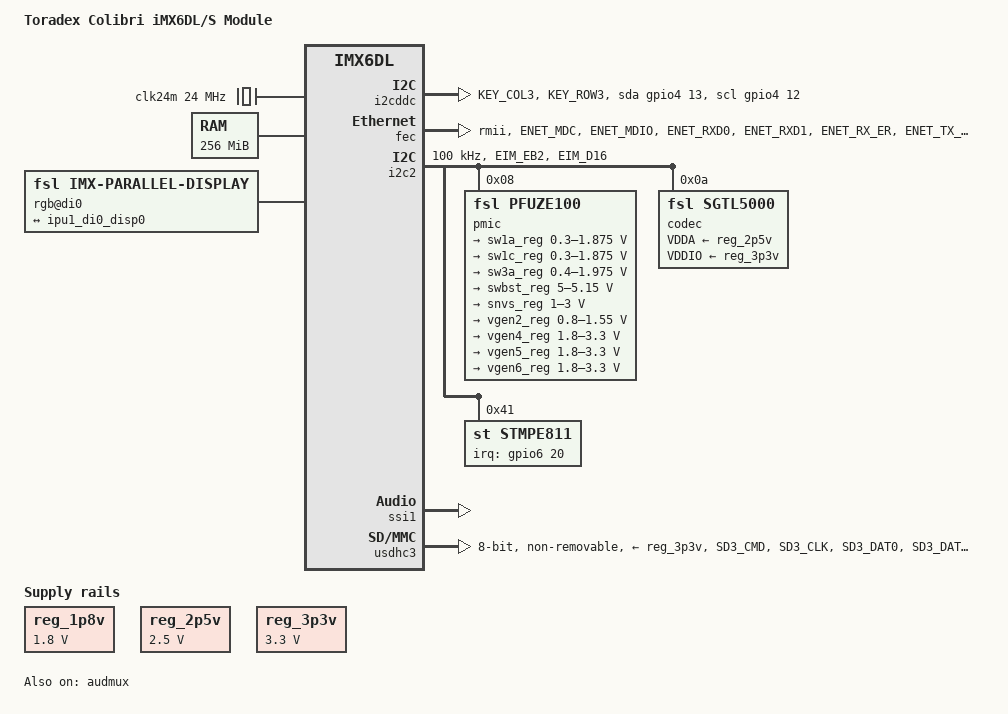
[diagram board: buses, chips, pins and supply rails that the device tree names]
/*
 * Copyright 2014-2015 Toradex AG
 * Copyright 2012 Freescale Semiconductor, Inc.
 * Copyright 2011 Linaro Ltd.
 *
 * The code contained herein is licensed under the GNU General Public
 * License. You may obtain a copy of the GNU General Public License
 * Version 2 or later at the following locations:
 *
 * http://www.opensource.org/licenses/gpl-license.html
 * http://www.gnu.org/copyleft/gpl.html
 */

/ {
	model = "Toradex Colibri iMX6DL/S  Module";
	compatible = "toradex,colibri_imx6dl", "fsl,imx6dl";

	backlight: backlight {
		compatible = "pwm-backlight";
		pwms = <&pwm3 0 5000000>;
		status = "disabled";
	};

	clocks {
		clk24m: clk24m {
			compatible = "fixed-clock";
			#clock-cells = <0>;
			clock-frequency = <24000000>;
		};
	};

/*
 * DDC_I2C: I2C2_SDA/SCL on X2 16/15
 */
	i2cddc: i2c@0 {
		compatible = "i2c-gpio";
		pinctrl-names = "default";
		pinctrl-0 = <&pinctrl_i2c_ddc>;
		gpios = <&gpio4 13 0 /* sda */
			 &gpio4 12 0 /* scl */
			>;
		i2c-gpio,delay-us = <2>;	/* ~100 kHz */
		#address-cells = <1>;
		#size-cells = <0>;
		status = "okay";
	};

	memory {
		/* This node is rewritten by U-Boot with the actual memory size */
		reg = <0x10000000 0x10000000>;
	};

	regulators {
		compatible = "simple-bus";

		reg_1p8v: 1p8v {
			compatible = "regulator-fixed";
			regulator-name = "1P8V";
			regulator-min-microvolt = <1800000>;
			regulator-max-microvolt = <1800000>;
			regulator-always-on;
		};

		reg_2p5v: 2p5v {
			compatible = "regulator-fixed";
			regulator-name = "2P5V";
			regulator-min-microvolt = <2500000>;
			regulator-max-microvolt = <2500000>;
			regulator-always-on;
		};

		reg_3p3v: 3p3v {
			compatible = "regulator-fixed";
			regulator-name = "3P3V";
			regulator-min-microvolt = <3300000>;
			regulator-max-microvolt = <3300000>;
			regulator-always-on;
		};

		reg_usb_host_vbus: usb_host_vbus {
			compatible = "regulator-fixed";
			pinctrl-names = "default";
			pinctrl-0 = <&pinctrl_regulator_usbh_pwr>;
			regulator-name = "usb_host_vbus";
			regulator-min-microvolt = <5000000>;
			regulator-max-microvolt = <5000000>;
			gpio =  <&gpio3 31 0>;
			status = "disabled";
		};
	};

	sound {
		compatible = "fsl,imx6-colibri-sgtl5000",
			     "fsl,imx-audio-sgtl5000";
		model = "imx6-colibri-sgtl5000";
		ssi-controller = <&ssi1>;
		audio-codec = <&codec>;
		audio-routing =
			"LINE_IN", "Line In Jack",
			"MIC_IN", "Mic Jack",
			"Mic Jack", "Mic Bias",
			"Headphone Jack", "HP_OUT";
		mux-int-port = <1>;
		mux-ext-port = <5>;
	};

	sound_spdif: sound-spdif {
		compatible = "fsl,imx-audio-spdif";
		model = "imx-spdif";
		spdif-controller = <&spdif>;
		spdif-out;
		/* spdif-in; */
		status = "disabled";
	};

	v4l2_out {
		compatible = "fsl,mxc_v4l2_output";
		status = "okay";
	};

	/* Parallel display */
	rgb@di0 {
		#address-cells = <1>;
		#size-cells = <0>;
		compatible = "fsl,imx-parallel-display";
		interface-pix-fmt = "bgr666";
		status = "okay";

		display-timings {
			native-mode = <&sxga75>;

			vga: VGA { /* Classic VGA from scratch */
				clock-frequency = <25200000>;
				hactive = <640>;
				vactive = <480>;
				hback-porch = <48>;
				hsync-len = <96>;
				hfront-porch = <16>;
				vback-porch = <31>;
				vsync-len = <2>;
				vfront-porch = <12>;
				hsync-active = <0>;
				vsync-active = <0>;
				de-active = <1>;
				pixelclk-active = <0>;
			};

/* MFPi display timing */
mfpi: lvds_wsvga { /* WSVGA: 1024x600@75Hz */
	/* clock-frequency = <66500000>; 92Hz - not in [60Hz...80Hz] range */
	clock-frequency = <44333333>; /* 61Hz - 53.99MHz reqired for typical 75Hz */
	hsync-len = <32>;	hfront-porch = <48>;	hactive = <1024>;	hback-porch = <80>;
	hsync-active = <0>;	/* negative, whole line 1184 */
	vsync-len = <1>;	vfront-porch = <3>;	vactive = <600>;	vback-porch = <4>;
	vsync-active = <0>;	/* negative, whole frame 608 */
	de-active = <1>;	pixelclk-active = <1>;
};

/* Timing from http://wwww.tinyvga.com/vga-timing */
vga60: vdac_vga60 { /* VGA: 640x480@63.5Hz 31.6KHz - checked for work on CRT and LCD monitors */
	clock-frequency = <26600000>; /* 25.175MHz required */
	hsync-len = <64>;	hfront-porch = <16>;	hactive = <640>;	hback-porch = <120>;
	hsync-active = <0>;	/* negative, whole line 840 */
	vsync-len = <3>;	vfront-porch = <2>;	vactive = <480>;	vback-porch = <15>;
	vsync-active = <0>;	/* negative, whole frame 500 */
	de-active = <1>;	pixelclk-active = <1>;
};
vga75: vdac_vga75 { /* VGA: 640x480@79.3Hz 39.6KHz - checked for work on CRT only */
	clock-frequency = <33250000>; /* 31.5MHz required */
	hsync-len = <64>;	hfront-porch = <16>;	hactive = <640>;	hback-porch = <120>;
	hsync-active = <0>;	/* negative, whole line 840 */
	vsync-len = <3>;	vfront-porch = <2>;	vactive = <480>;	vback-porch = <15>;
	vsync-active = <0>;	/* negative, whole frame 500 */
	de-active = <1>;	pixelclk-active = <1>;
};
svga56: vdac_svga56 { /* SVGA: 800x600@52.0Hz 32.4KHz - checked for work on CRT and LCD monitors */
	clock-frequency = <33250000>; /* 36MHz required */
	hsync-len = <72>;	hfront-porch = <24>;	hactive = <800>;	hback-porch = <128>;
	hsync-active = <1>;	/* positive, whole line 1024 */
	vsync-len = <2>;	vfront-porch = <2>;	vactive = <600>;	vback-porch = <21>;
	vsync-active = <1>;	/* positive, whole frame 636 */
	de-active = <1>;	pixelclk-active = <1>;
};
svga100: vdac_svga100 { /* SVGA: 800x600@97.8Hz 62.0KHz - checked for work on CRT only */
	clock-frequency = <66500000>; /* 68.18MHz required */
	hsync-len = <88>;	hfront-porch = <48>;	hactive = <800>;	hback-porch = <136>;
	hsync-active = <1>;	/* positive, whole line 1072 */
	vsync-len = <3>;	vfront-porch = <2>;	vactive = <600>;	vback-porch = <31>;
	vsync-active = <1>;	/* positive, whole frame 636 */
	de-active = <1>;	pixelclk-active = <1>;
};
xga60: vdac_xga60 { /* XGA: 1024x768@61.5Hz 49.4KHz - checked for work on CRT and LCD monitors */
	clock-frequency = <66500000>; /* 65MHz required */
	hsync-len = <136>;	hfront-porch = <24>;	hactive = <1024>;	hback-porch = <160>;
	hsync-active = <0>;	/* negative, whole line 1344 */
	vsync-len = <6>;	vfront-porch = <3>;	vactive = <768>;	vback-porch = <29>;
	vsync-active = <0>;	/* negative, whole frame 806 */
	de-active = <1>;	pixelclk-active = <1>;
};
xga70: vdac_xga70 { /* XGA: 1024x768@62.2Hz 50.0KHz - checked for work on CRT and LCD monitors */
	clock-frequency = <66500000>; /* 75MHz required */
	hsync-len = <136>;	hfront-porch = <24>;	hactive = <1024>;	hback-porch = <144>;
	hsync-active = <0>;	/* negative, whole line 1328 */
	vsync-len = <6>;	vfront-porch = <3>;	vactive = <768>;	vback-porch = <29>;
	vsync-active = <0>;	/* negative, whole frame 806 */
	de-active = <1>;	pixelclk-active = <1>;
};
sxga60: vdac_sxga60 { /* SXGA: 1280x1024@74.1Hz 78.8KHz - checked for work on CRT and LCD monitors */
	clock-frequency = <133000000>; /* 108MHz required */
	hsync-len = <112>;	hfront-porch = <48>;	hactive = <1280>;	hback-porch = <248>;
	hsync-active = <1>;	/* positive, whole line 1688 */
	vsync-len = <3>;	vfront-porch = <2>;	vactive = <1024>;	vback-porch = <37>;
	vsync-active = <1>;	/* positive, whole frame 1066 */
	de-active = <1>;	pixelclk-active = <1>;
};
sxga75: vdac_sxga75 { /* SXGA: 1280x1024@74.1Hz 78.8KHz - checked for work on CRT and LCD monitors */
	clock-frequency = <133000000>; /* 135Mhz required */
	hsync-len = <144>;	hfront-porch = <16>;	hactive = <1280>;	hback-porch = <248>;
	hsync-active = <1>;	/* positive, whole line 1688 */
	vsync-len = <3>;	vfront-porch = <2>;	vactive = <1024>;	vback-porch = <37>;
	vsync-active = <1>;	/* positive, whole frame 1066 */
	de-active = <1>;	pixelclk-active = <1>;
};
sxgap60: vdac_sxgap60 { /* SXGA+: 1400x1050@65.2Hz 70.7KHz - checked for work on CRT and LCD monitors */
	clock-frequency = <133000000>; /* 122.61Mhz required */
	hsync-len = <152>;	hfront-porch = <88>;	hactive = <1400>;	hback-porch = <240>;
	hsync-active = <0>;	/* negative, whole line 1880 */
	vsync-len = <3>;	vfront-porch = <2>;	vactive = <1050>;	vback-porch = <32>;
	vsync-active = <1>;	/* positive, whole frame 1066 */
	de-active = <1>;	pixelclk-active = <1>;
};
sxgap72: vdac_sxgap72 { /* SXGA+: 1400x1050@64.3Hz 70.2KHz - checked for work on CRT and LCD monitors */
	clock-frequency = <133000000>; /* 149.34Mhz required */
	hsync-len = <152>;	hfront-porch = <96>;	hactive = <1400>;	hback-porch = <248>;
	hsync-active = <0>;	/* negative, whole line 1896 */
	vsync-len = <3>;	vfront-porch = <2>;	vactive = <1050>;	vback-porch = <39>;
	vsync-active = <1>;	/* positive, whole frame 1066 */
	de-active = <1>;	pixelclk-active = <1>;
};
uxga60: vdac_uxga60 { /* UXGA: 1600x1200@49.3Hz 61.6KHz - checked for work on CRT and LCD monitors */
	clock-frequency = <133000000>; /* 162Mhz required */
	hsync-len = <192>;	hfront-porch = <64>;	hactive = <1600>;	hback-porch = <304>;
	hsync-active = <1>;	/* positive, whole line 1896 */
	vsync-len = <3>;	vfront-porch = <2>;	vactive = <1200>;	vback-porch = <45>;
	vsync-active = <1>;	/* positive, whole frame 1066 */
	de-active = <1>;	pixelclk-active = <1>;
};
		};

		port@0 { /* input port */
			reg = <0>;

			rgb_out: endpoint {
				remote-endpoint = <&ipu1_di0_disp0>;
			};
		};
	};
};

&ipu1_di0_disp0 {
	remote-endpoint = <&rgb_out>;
};

&audmux {
	pinctrl-names = "default";
	pinctrl-0 = <&pinctrl_audmux &pinctrl_audmux_mclk &pinctrl_mic_gnd>;
	status = "okay";
};

/* Colibri SPI */
&ecspi4 {
	fsl,spi-num-chipselects = <1>;
	cs-gpios = <&gpio5 2 0>;
	pinctrl-names = "default";
	pinctrl-0 = <&pinctrl_ecspi4 &pinctrl_spi_cs1>;
	status = "disabled";
};

&fec {
	pinctrl-names = "default";
	pinctrl-0 = <&pinctrl_enet>;
	phy-mode = "rmii";
	status = "okay";
};

/* Colibri SDDIMM 55/63 */
&can1 {
	pinctrl-names = "default";
	pinctrl-0 = <&pinctrl_flexcan1>;
	status = "disabled";
};

/* Colibri SODOMM 178/188 */
&can2 {
	pinctrl-names = "default";
	pinctrl-0 = <&pinctrl_flexcan2>;
	status = "disabled";
};

&i2c2 {
	clock-frequency = <100000>;
	pinctrl-names = "default";
	pinctrl-0 = <&pinctrl_i2c2>;
	status = "okay";

	pmic: pfuze100@08 {
		compatible = "fsl,pfuze100";
		reg = <0x08>;

		regulators {
			sw1a_reg: sw1ab {
				regulator-min-microvolt = <300000>;
				regulator-max-microvolt = <1875000>;
				regulator-boot-on;
				regulator-always-on;
				regulator-ramp-delay = <6250>;
			};

			sw1c_reg: sw1c {
				regulator-min-microvolt = <300000>;
				regulator-max-microvolt = <1875000>;
				regulator-boot-on;
				regulator-always-on;
				regulator-ramp-delay = <6250>;
			};

			sw3a_reg: sw3a {
				regulator-min-microvolt = <400000>;
				regulator-max-microvolt = <1975000>;
				regulator-boot-on;
				regulator-always-on;
			};

			swbst_reg: swbst {
				regulator-min-microvolt = <5000000>;
				regulator-max-microvolt = <5150000>;
				regulator-boot-on;
				regulator-always-on;
			};

			snvs_reg: vsnvs {
				regulator-min-microvolt = <1000000>;
				regulator-max-microvolt = <3000000>;
				regulator-boot-on;
				regulator-always-on;
			};

			vref_reg: vrefddr {
				regulator-boot-on;
				regulator-always-on;
			};

			vgen2_reg: vgen2 {
				regulator-min-microvolt = <800000>;
				regulator-max-microvolt = <1550000>;
				regulator-boot-on;
				regulator-always-on;
			};

			vgen4_reg: vgen4 {
				regulator-min-microvolt = <1800000>;
				regulator-max-microvolt = <3300000>;
				regulator-boot-on;
				regulator-always-on;
			};

			vgen5_reg: vgen5 {
				regulator-min-microvolt = <1800000>;
				regulator-max-microvolt = <3300000>;
				regulator-boot-on;
				regulator-always-on;
			};

			vgen6_reg: vgen6 {
				regulator-min-microvolt = <1800000>;
				regulator-max-microvolt = <3300000>;
				regulator-boot-on;
				regulator-always-on;
			};
		};
	};

	codec: sgtl5000@0a {
		compatible = "fsl,sgtl5000";
		reg = <0x0a>;
		clocks = <&clks 201>;
		VDDA-supply = <&reg_2p5v>;
		VDDIO-supply = <&reg_3p3v>;
	};

	/* STMPE811 touch screen controller */
	stmpe811@41 {
		compatible = "st,stmpe811";
		pinctrl-names = "default";
		pinctrl-0 = <&pinctrl_touch_int_1>;
		#address-cells = <1>;
		#size-cells = <0>;
		reg = <0x41>;
		interrupts = <20 IRQ_TYPE_LEVEL_LOW>;
		interrupt-parent = <&gpio6>;
		interrupt-controller;
		id = <0>;
		blocks = <0x5>;
		irq-trigger = <0x1>;
		stmpe_touchscreen {
			compatible = "st,stmpe-ts";
			reg = <0>;
			/* 3.25 MHz ADC clock speed */
			st,adc-freq = <1>;
			/* 8 sample average control */
			st,ave-ctrl = <3>;
			/* 7 length fractional part in z */
			st,fraction-z = <7>;
			/*
			 * 50 mA typical 80 mA max touchscreen drivers
			 * current limit value
			 */
			st,i-drive = <1>;
			/* 12-bit ADC */
			st,mod-12b = <1>;
			/* internal ADC reference */
			st,ref-sel = <0>;
			/* ADC converstion time: 80 clocks */
			st,sample-time = <4>;
			/* 1 ms panel driver settling time */
			st,settling = <3>;
			/* 5 ms touch detect interrupt delay */
			st,touch-det-delay = <5>;
		};
		stmpe_adc {
			compatible = "st,stmpe-adc";
			/* 3.25 MHz ADC clock speed */
			st,adc-freq = <1>;
			/* 12-bit ADC */
			st,mod-12b = <1>;
			/* internal ADC reference */
			st,ref-sel = <0>;
			/* ADC converstion time: 80 clocks */
			st,sample-time = <4>;
		};
	};
};

/*
 * I2C: I2C3_SDA/SCL on SODIMM 194/196 (e.g. RTC on carrier
 * board)
 */
&i2c3 {
	clock-frequency = <100000>;
	pinctrl-names = "default", "recovery";
	pinctrl-0 = <&pinctrl_i2c3>;
	pinctrl-1 = <&pinctrl_i2c3_recovery>;
	gpios = <&gpio1 6 0 /* sda */
	         &gpio1 3 0 /* scl */
	        >;
	status = "disabled";
};

/* PAD Ctrl Values for Common Settings */
#define PAD_CTRL_HYS_PU 0x1b0b0 /*(PAD_CTL_HYS | PAD_CTL_PUS_100K_UP | PAD_CTL_PUE | PAD_CTL_PKE | PAD_CTL_SPEED_MED | PAD_CTL_DSE_40ohm)*/
#define PAD_CTRL_HYS_PD 0x130b0 /*(PAD_CTL_HYS | PAD_CTL_PUE | PAD_CTL_PKE | PAD_CTL_SPEED_MED | PAD_CTL_DSE_40ohm)*/
#define PAD_CTRL_PU_22k 0x0f058 /*(PAD_CTL_PUS_22K_UP | PAD_CTL_PUE | PAD_CTL_PKE | PAD_CTL_SPEED_LOW | PAD_CTL_DSE_80ohm)*/
#define PAD_CTRL_IN 0x0040 /*( PAD_CTL_SPEED_LOW )*/
#define PAD_CTRL_NO 0x80000000

&iomuxc {
	csi {
		/* CSI pins used as GPIO */
		pinctrl_csi_gpio_1: csi_gpio-1 {
			fsl,pins = <
				MX6QDL_PAD_EIM_A24__GPIO5_IO04   PAD_CTRL_HYS_PU
				MX6QDL_PAD_SD2_CMD__GPIO1_IO11   PAD_CTRL_HYS_PU
				MX6QDL_PAD_NANDF_CS2__GPIO6_IO15 PAD_CTRL_HYS_PU
				MX6QDL_PAD_EIM_D18__GPIO3_IO18   PAD_CTRL_HYS_PU
				MX6QDL_PAD_EIM_A19__GPIO2_IO19   PAD_CTRL_HYS_PU
				MX6QDL_PAD_EIM_D29__GPIO3_IO29   PAD_CTRL_HYS_PD
				MX6QDL_PAD_EIM_A23__GPIO6_IO06   PAD_CTRL_HYS_PU
				MX6QDL_PAD_EIM_A20__GPIO2_IO18   PAD_CTRL_HYS_PU
				MX6QDL_PAD_EIM_A17__GPIO2_IO21   PAD_CTRL_HYS_PU
				MX6QDL_PAD_EIM_A18__GPIO2_IO20   PAD_CTRL_HYS_PU
				MX6QDL_PAD_EIM_EB3__GPIO2_IO31   PAD_CTRL_HYS_PU
				MX6QDL_PAD_EIM_D17__GPIO3_IO17   PAD_CTRL_HYS_PU
				MX6QDL_PAD_SD2_DAT0__GPIO1_IO15  PAD_CTRL_HYS_PU
			>;
		};
	};

	ecspi4 {
		pinctrl_ecspi4: ecspi4grp {
			fsl,pins = <
				MX6QDL_PAD_EIM_D22__ECSPI4_MISO 0x100b1
				MX6QDL_PAD_EIM_D28__ECSPI4_MOSI 0x100b1
				MX6QDL_PAD_EIM_D21__ECSPI4_SCLK 0x100b1
			>;
		};
	};

	enet {

		pinctrl_enet: enetgrp { /* RMII */
			fsl,pins = <
				MX6QDL_PAD_ENET_MDC__ENET_MDC		0x1b0b0
				MX6QDL_PAD_ENET_MDIO__ENET_MDIO		0x1b0b0
				MX6QDL_PAD_ENET_RXD0__ENET_RX_DATA0	0x1b0b0
				MX6QDL_PAD_ENET_RXD1__ENET_RX_DATA1	0x1b0b0
				MX6QDL_PAD_ENET_RX_ER__ENET_RX_ER	0x1b0b0
				MX6QDL_PAD_ENET_TX_EN__ENET_TX_EN	0x1b0b0
				MX6QDL_PAD_ENET_TXD0__ENET_TX_DATA0	0x1b0b0
				MX6QDL_PAD_ENET_TXD1__ENET_TX_DATA1	0x1b0b0
				MX6QDL_PAD_ENET_CRS_DV__ENET_RX_EN	0x1b0b0
				MX6QDL_PAD_GPIO_16__ENET_REF_CLK	((1<<30) | 0x1b0b0)
			>;
		};
	};

	flexcan1 {

		pinctrl_flexcan1: flexcan1grp {
			fsl,pins = <
				MX6QDL_PAD_GPIO_7__FLEXCAN1_TX   0x80000000
				MX6QDL_PAD_GPIO_8__FLEXCAN1_RX   0x80000000
			>;
		};
		pinctrl_flexcan2: flexcan2grp {
			fsl,pins = <
				MX6QDL_PAD_KEY_COL4__FLEXCAN2_TX 0x80000000
				MX6QDL_PAD_KEY_ROW4__FLEXCAN2_RX 0x80000000
			>;
		};
	};

	gpio {
		pinctrl_gpio_1: gpio-1 {
			fsl,pins = <
				MX6QDL_PAD_EIM_D26__GPIO3_IO26      PAD_CTRL_HYS_PU
				MX6QDL_PAD_EIM_D27__GPIO3_IO27      PAD_CTRL_HYS_PU
				MX6QDL_PAD_NANDF_D6__GPIO2_IO06     PAD_CTRL_HYS_PU
				MX6QDL_PAD_NANDF_D3__GPIO2_IO03     PAD_CTRL_HYS_PU
				MX6QDL_PAD_ENET_REF_CLK__GPIO1_IO23 PAD_CTRL_HYS_PU
				MX6QDL_PAD_DI0_PIN4__GPIO4_IO20     PAD_CTRL_HYS_PU
				MX6QDL_PAD_SD4_DAT3__GPIO2_IO11     PAD_CTRL_HYS_PU
				MX6QDL_PAD_NANDF_D4__GPIO2_IO04     PAD_CTRL_HYS_PU
				MX6QDL_PAD_SD4_DAT0__GPIO2_IO08     PAD_CTRL_HYS_PU
			>;
		};
		pinctrl_gpio_2: gpio-2 {
			fsl,pins = <
				MX6QDL_PAD_GPIO_7__GPIO1_IO07       PAD_CTRL_HYS_PU
				MX6QDL_PAD_GPIO_8__GPIO1_IO08       PAD_CTRL_HYS_PU
			>;
		};
	};

	i2c {
		pinctrl_i2c_ddc: i2c_ddc {
			fsl,pins = <
				MX6QDL_PAD_KEY_COL3__GPIO4_IO12		PAD_CTRL_HYS_PU	/* DDC bitbang */
				MX6QDL_PAD_KEY_ROW3__GPIO4_IO13		PAD_CTRL_HYS_PU	/* DDC bitbang */
			>;
		};
		pinctrl_i2c3: i2c3grp {
			fsl,pins = <
				MX6QDL_PAD_GPIO_3__I2C3_SCL 0x4001b8b1
				MX6QDL_PAD_GPIO_6__I2C3_SDA 0x4001b8b1
			>;
		};
		pinctrl_i2c3_recovery: i2c3-recoverygrp {
			fsl,pins = <
				MX6QDL_PAD_GPIO_3__GPIO1_IO03 0x4001b8b1
				MX6QDL_PAD_GPIO_6__GPIO1_IO06 0x4001b8b1
			>;
		};
	};
	/* pins used on module */
	imx6dl-colibri {
		pinctrl-names = "default";
		pinctrl-0 = <&pinctrl_emmc_reset>;
		pinctrl_audmux: audmuxgrp {
			fsl,pins = <
				MX6QDL_PAD_KEY_COL0__AUD5_TXC  0x130b0
				MX6QDL_PAD_KEY_ROW0__AUD5_TXD  0x130b0
				MX6QDL_PAD_KEY_COL1__AUD5_TXFS 0x130b0
				MX6QDL_PAD_KEY_ROW1__AUD5_RXD  0x130b0
			>;
		};
		pinctrl_audmux_mclk: audmux_mclk {
			fsl,pins = <
				MX6QDL_PAD_GPIO_0__CCM_CLKO1		0x000b0		/* SGTL5000 sys_mclk */
			>;
		};
		pinctrl_emmc_reset: emmc_reset {
			fsl,pins = <
				MX6QDL_PAD_SD3_RST__GPIO7_IO08		PAD_CTRL_PU_22k	/* eMMC reset, leave it alone */
			>;
		};
		pinctrl_gpio_keys: gpio_keys {
			fsl,pins = <
				MX6QDL_PAD_EIM_A16__GPIO2_IO22		PAD_CTRL_HYS_PD	/* Power Button */
			>;
		};
		pinctrl_i2c2: i2c2grp {
			fsl,pins = <
				MX6QDL_PAD_EIM_EB2__I2C2_SCL 0x4001b8b1
				MX6QDL_PAD_EIM_D16__I2C2_SDA 0x4001b8b1
			>;
		};
		pinctrl_mic_gnd: gpio_mic_gnd {
			fsl,pins = <
				MX6QDL_PAD_RGMII_TD1__GPIO6_IO21	PAD_CTRL_HYS_PU	/* Controlls Mic GND, PU or '1' pull Mic GND to GND */
			>;
		};
		pinctrl_pwm_a_cif_d7: pwm_d_cif_d7 {
			fsl,pins = <
				MX6QDL_PAD_EIM_A22__GPIO2_IO16		PAD_CTRL_IN	/* disable, muxed with PWM<A> */
			>;
		};
		pinctrl_pwm_d_cif_d6: pwm_d_cif_d6 {
			fsl,pins = <
				MX6QDL_PAD_EIM_A21__GPIO2_IO17		PAD_CTRL_IN	/* disable, muxed with PWM<D> */
			>;
		};
		pinctrl_regulator_usbh_pwr: gpio_regulator_usbh_pwr {
			fsl,pins = <
				MX6QDL_PAD_EIM_D31__GPIO3_IO31		PAD_CTRL_PU_22k	/* USBH_EN */
			>;
		};

		pinctrl_regulator_usbotg_pwr: gpio_regulator_usbotg_pwr {
			fsl,pins = <
				MX6QDL_PAD_EIM_D22__GPIO3_IO22		PAD_CTRL_PU_22k	/* USBO power en */
			>;
		};

		pinctrl_spi_cs1: spi_cs1 {
			fsl,pins = <
				MX6QDL_PAD_EIM_A25__GPIO5_IO02		PAD_CTRL_NO	/* SPI cs */
			>;
		};
		pinctrl_touch_int_1: touch_int-1 {
			fsl,pins = <
				MX6QDL_PAD_RGMII_TD0__GPIO6_IO20	PAD_CTRL_HYS_PU /* STMPE811 interrupt */
			>;
		};
		pinctrl_usbh_oc_1: usbh_oc-1 {
			fsl,pins = <
				/* USBH_OC */
				MX6QDL_PAD_EIM_D30__GPIO3_IO30		PAD_CTRL_HYS_PU
			>;
		};
		pinctrl_usbc_id_1: usbc_id-1 {
			fsl,pins = <
				/* USBC_ID */
				MX6QDL_PAD_NANDF_D2__GPIO2_IO02		PAD_CTRL_HYS_PU
			>;
		};
		pinctrl_usbc_det_1: usbc_det-1 {
			fsl,pins = <
				/* USBC_DET */
				MX6QDL_PAD_GPIO_17__GPIO7_IO12		PAD_CTRL_HYS_PU
				/* USBC_DET_EN */
				MX6QDL_PAD_RGMII_TX_CTL__GPIO6_IO26	PAD_CTRL_PU_22k
				/* USBC_DET_OVERWRITE */
				MX6QDL_PAD_RGMII_RXC__GPIO6_IO30	PAD_CTRL_PU_22k
			>;
		};
		pinctrl_usdhc3: usdhc3grp {
			fsl,pins = <
				MX6QDL_PAD_SD3_CMD__SD3_CMD    0x17059
				MX6QDL_PAD_SD3_CLK__SD3_CLK    0x10059
				MX6QDL_PAD_SD3_DAT0__SD3_DATA0 0x17059
				MX6QDL_PAD_SD3_DAT1__SD3_DATA1 0x17059
				MX6QDL_PAD_SD3_DAT2__SD3_DATA2 0x17059
				MX6QDL_PAD_SD3_DAT3__SD3_DATA3 0x17059
				MX6QDL_PAD_SD3_DAT4__SD3_DATA4 0x17059
				MX6QDL_PAD_SD3_DAT5__SD3_DATA5 0x17059
				MX6QDL_PAD_SD3_DAT6__SD3_DATA6 0x17059
				MX6QDL_PAD_SD3_DAT7__SD3_DATA7 0x17059
			>;
		};
		pinctrl_usdhc3_100mhz: usdhc3grp-100mhz { /* 100Mhz */
			fsl,pins = <
				MX6QDL_PAD_SD3_CMD__SD3_CMD 0x170B9
				MX6QDL_PAD_SD3_CLK__SD3_CLK 0x100B9
				MX6QDL_PAD_SD3_DAT0__SD3_DATA0 0x170B9
				MX6QDL_PAD_SD3_DAT1__SD3_DATA1 0x170B9
				MX6QDL_PAD_SD3_DAT2__SD3_DATA2 0x170B9
				MX6QDL_PAD_SD3_DAT3__SD3_DATA3 0x170B9
				MX6QDL_PAD_SD3_DAT4__SD3_DATA4 0x170B9
				MX6QDL_PAD_SD3_DAT5__SD3_DATA5 0x170B9
				MX6QDL_PAD_SD3_DAT6__SD3_DATA6 0x170B9
				MX6QDL_PAD_SD3_DAT7__SD3_DATA7 0x170B9
			>;
		};
		pinctrl_usdhc3_200mhz: usdhc3grp-200mhz { /* 200Mhz */
			fsl,pins = <
				MX6QDL_PAD_SD3_CMD__SD3_CMD 0x170F9
				MX6QDL_PAD_SD3_CLK__SD3_CLK 0x100F9
				MX6QDL_PAD_SD3_DAT0__SD3_DATA0 0x170F9
				MX6QDL_PAD_SD3_DAT1__SD3_DATA1 0x170F9
				MX6QDL_PAD_SD3_DAT2__SD3_DATA2 0x170F9
				MX6QDL_PAD_SD3_DAT3__SD3_DATA3 0x170F9
				MX6QDL_PAD_SD3_DAT4__SD3_DATA4 0x170F9
				MX6QDL_PAD_SD3_DAT5__SD3_DATA5 0x170F9
				MX6QDL_PAD_SD3_DAT6__SD3_DATA6 0x170F9
				MX6QDL_PAD_SD3_DAT7__SD3_DATA7 0x170F9
			>;
		};
	};

	ipu1 {

		pinctrl_ipu1_lcd: ipu1grp-lcd {
			fsl,pins = <
				MX6QDL_PAD_DI0_DISP_CLK__IPU1_DI0_DISP_CLK 0xa1
				MX6QDL_PAD_DI0_PIN15__IPU1_DI0_PIN15       0xa1
				MX6QDL_PAD_DI0_PIN2__IPU1_DI0_PIN02        0xa1
				MX6QDL_PAD_DI0_PIN3__IPU1_DI0_PIN03        0xa1
				MX6QDL_PAD_DISP0_DAT0__IPU1_DISP0_DATA00   0xa1
				MX6QDL_PAD_DISP0_DAT1__IPU1_DISP0_DATA01   0xa1
				MX6QDL_PAD_DISP0_DAT2__IPU1_DISP0_DATA02   0xa1
				MX6QDL_PAD_DISP0_DAT3__IPU1_DISP0_DATA03   0xa1
				MX6QDL_PAD_DISP0_DAT4__IPU1_DISP0_DATA04   0xa1
				MX6QDL_PAD_DISP0_DAT5__IPU1_DISP0_DATA05   0xa1
				MX6QDL_PAD_DISP0_DAT6__IPU1_DISP0_DATA06   0xa1
				MX6QDL_PAD_DISP0_DAT7__IPU1_DISP0_DATA07   0xa1
				MX6QDL_PAD_DISP0_DAT8__IPU1_DISP0_DATA08   0xa1
				MX6QDL_PAD_DISP0_DAT9__IPU1_DISP0_DATA09   0xa1
				MX6QDL_PAD_DISP0_DAT10__IPU1_DISP0_DATA10  0xa1
				MX6QDL_PAD_DISP0_DAT11__IPU1_DISP0_DATA11  0xa1
				MX6QDL_PAD_DISP0_DAT12__IPU1_DISP0_DATA12  0xa1
				MX6QDL_PAD_DISP0_DAT13__IPU1_DISP0_DATA13  0xa1
				MX6QDL_PAD_DISP0_DAT14__IPU1_DISP0_DATA14  0xa1
				MX6QDL_PAD_DISP0_DAT15__IPU1_DISP0_DATA15  0xa1
				MX6QDL_PAD_DISP0_DAT16__IPU1_DISP0_DATA16  0xa1
				MX6QDL_PAD_DISP0_DAT17__IPU1_DISP0_DATA17  0xa1
			>;
		};
		pinctrl_ipu1_csi0: ipu1grp-csi0 { /* parallel camera */
			fsl,pins = <
				MX6QDL_PAD_EIM_A17__IPU1_CSI1_DATA12    0xb0b1
				MX6QDL_PAD_EIM_A18__IPU1_CSI1_DATA13    0xb0b1
				MX6QDL_PAD_EIM_A19__IPU1_CSI1_DATA14    0xb0b1
				MX6QDL_PAD_EIM_A20__IPU1_CSI1_DATA15    0xb0b1
				MX6QDL_PAD_EIM_A21__IPU1_CSI1_DATA16    0xb0b1
				MX6QDL_PAD_EIM_A22__IPU1_CSI1_DATA17    0xb0b1
				MX6QDL_PAD_EIM_A23__IPU1_CSI1_DATA18    0xb0b1
				MX6QDL_PAD_EIM_A24__IPU1_CSI1_DATA19    0xb0b1
				MX6QDL_PAD_EIM_D17__IPU1_CSI1_PIXCLK    0xb0b1
				MX6QDL_PAD_EIM_EB3__IPU1_CSI1_HSYNC     0xb0b1
				MX6QDL_PAD_EIM_D29__IPU1_CSI1_VSYNC     0xb0b1

				MX6QDL_PAD_SD4_DAT1__GPIO2_IO09         0x40		/* disabled PWM pins on camera IF */
				MX6QDL_PAD_GPIO_1__GPIO1_IO01		0x40
			>;
		};
		pinctrl_cam_mclk: camgrp_mclk { /* parallel camera */
			fsl,pins = <
				MX6QDL_PAD_NANDF_CS2__CCM_CLKO2         0x00b0		/* CAM sys_mclk */
			>;
		};
	};

	pwm {
		pinctrl_pwm1: pwm1grp {
			fsl,pins = <
				MX6QDL_PAD_GPIO_9__PWM1_OUT 0x1b0b1
			>;
		};
		pinctrl_pwm2: pwm2grp {
			fsl,pins = <
				MX6QDL_PAD_GPIO_1__PWM2_OUT 0x1b0b1
			>;
		};
		pinctrl_pwm3: pwm3grp {
			fsl,pins = <
				MX6QDL_PAD_SD4_DAT1__PWM3_OUT 0x1b0b1
			>;
		};
		pinctrl_pwm4: pwm4grp {
			fsl,pins = <
				MX6QDL_PAD_SD4_DAT2__PWM4_OUT 0x1b0b1
			>;
		};
 	};

	spdif {

		pinctrl_spdif_t1: spdifgrp-t1 {
			fsl,pins = <
				MX6QDL_PAD_GPIO_17__SPDIF_OUT 0x1b0b0
			>;
		};
	};

	uart1 {
		pinctrl_uart1_dte: uart1-dtegrp { /* DTE mode */
			fsl,pins = <
				MX6QDL_PAD_CSI0_DAT10__UART1_RX_DATA 0x1b0b1
				MX6QDL_PAD_CSI0_DAT11__UART1_TX_DATA 0x1b0b1
				MX6QDL_PAD_EIM_D19__UART1_RTS_B 0x1b0b1
				MX6QDL_PAD_EIM_D20__UART1_CTS_B 0x1b0b1
			>;
		};
		pinctrl_uart1_ctrl: uart1-ctrlgrp { /* Additional DTR, DSR, DCD */
			fsl,pins = <
				MX6QDL_PAD_EIM_D23__UART1_DCD_B 0x1b0b0
				MX6QDL_PAD_EIM_D24__UART1_DTR_B 0x1b0b0
				MX6QDL_PAD_EIM_D25__UART1_DSR_B 0x1b0b0
			>;
		};
	};

	uart2 {
		pinctrl_uart2_dte: uart2grp-dte { /* DTE mode */			fsl,pins = <
				MX6QDL_PAD_SD4_DAT4__UART2_TX_DATA   0x1b0b1
				MX6QDL_PAD_SD4_DAT7__UART2_RX_DATA   0x1b0b1
				MX6QDL_PAD_SD4_DAT6__UART2_RTS_B 0x1b0b1
				MX6QDL_PAD_SD4_DAT5__UART2_CTS_B 0x1b0b1
			>;
		};
	};

	uart3 {
		pinctrl_uart3_dte: uart3grp-dte { /* DTE mode */
			fsl,pins = <
				MX6QDL_PAD_SD4_CLK__UART3_TX_DATA 0x1b0b1
				MX6QDL_PAD_SD4_CMD__UART3_RX_DATA 0x1b0b1
			>;
		};
	};

	usdhc {
		pinctrl_mmc_cd: gpio_mmc_cd {
			fsl,pins = <
				MX6QDL_PAD_NANDF_D5__GPIO2_IO05		PAD_CTRL_NO	/* MMC1 CD */
			>;
		};
		pinctrl_usdhc1: usdhc1grp {
			fsl,pins = <
				MX6QDL_PAD_SD1_CMD__SD1_CMD    0x17071
				MX6QDL_PAD_SD1_CLK__SD1_CLK    0x10071
				MX6QDL_PAD_SD1_DAT0__SD1_DATA0 0x17071
				MX6QDL_PAD_SD1_DAT1__SD1_DATA1 0x17071
				MX6QDL_PAD_SD1_DAT2__SD1_DATA2 0x17071
				MX6QDL_PAD_SD1_DAT3__SD1_DATA3 0x17071
			>;
		};
	};

	weim {
		pinctrl_weim_cs0: weim_cs0grp {
			fsl,pins = <
				MX6QDL_PAD_EIM_CS0__EIM_CS0_B   0xb0b1 /* nEXT_CS0 */
			>;
		};
		pinctrl_weim_cs1: weim_cs1grp {
			fsl,pins = <
				MX6QDL_PAD_EIM_CS1__EIM_CS1_B   0xb0b1 /* nEXT_CS1 */
			>;
		};
		pinctrl_weim_cs2: weim_cs2grp {
			fsl,pins = <
				MX6QDL_PAD_SD2_DAT1__EIM_CS2_B  0xb0b1 /* nEXT_CS2 */
			>;
		};
		pinctrl_weim_sram_1: weim_sramgrp-1 {
			fsl,pins = <
				MX6QDL_PAD_EIM_OE__EIM_OE_B     0xb0b1
				MX6QDL_PAD_EIM_RW__EIM_RW       0xb0b1
				/* data */
				MX6QDL_PAD_CSI0_DATA_EN__EIM_DATA00 0x1b0b0
				MX6QDL_PAD_CSI0_VSYNC__EIM_DATA01 0x1b0b0
				MX6QDL_PAD_CSI0_DAT4__EIM_DATA02 0x1b0b0
				MX6QDL_PAD_CSI0_DAT5__EIM_DATA03 0x1b0b0
				MX6QDL_PAD_CSI0_DAT6__EIM_DATA04 0x1b0b0
				MX6QDL_PAD_CSI0_DAT7__EIM_DATA05 0x1b0b0
				MX6QDL_PAD_CSI0_DAT8__EIM_DATA06 0x1b0b0
				MX6QDL_PAD_CSI0_DAT9__EIM_DATA07 0x1b0b0
				MX6QDL_PAD_CSI0_DAT12__EIM_DATA08 0x1b0b0
				MX6QDL_PAD_CSI0_DAT13__EIM_DATA09 0x1b0b0
				MX6QDL_PAD_CSI0_DAT14__EIM_DATA10 0x1b0b0
				MX6QDL_PAD_CSI0_DAT15__EIM_DATA11 0x1b0b0
				MX6QDL_PAD_CSI0_DAT16__EIM_DATA12 0x1b0b0
				MX6QDL_PAD_CSI0_DAT17__EIM_DATA13 0x1b0b0
				MX6QDL_PAD_CSI0_DAT18__EIM_DATA14 0x1b0b0
				MX6QDL_PAD_CSI0_DAT19__EIM_DATA15 0x1b0b0
				/* address */
				MX6QDL_PAD_EIM_DA15__EIM_AD15  0xb0b1
				MX6QDL_PAD_EIM_DA14__EIM_AD14  0xb0b1
				MX6QDL_PAD_EIM_DA13__EIM_AD13  0xb0b1
				MX6QDL_PAD_EIM_DA12__EIM_AD12  0xb0b1
				MX6QDL_PAD_EIM_DA11__EIM_AD11  0xb0b1
				MX6QDL_PAD_EIM_DA10__EIM_AD10  0xb0b1
				MX6QDL_PAD_EIM_DA9__EIM_AD09   0xb0b1
				MX6QDL_PAD_EIM_DA8__EIM_AD08   0xb0b1
				MX6QDL_PAD_EIM_DA7__EIM_AD07   0xb0b1
				MX6QDL_PAD_EIM_DA6__EIM_AD06   0xb0b1
				MX6QDL_PAD_EIM_DA5__EIM_AD05   0xb0b1
				MX6QDL_PAD_EIM_DA4__EIM_AD04   0xb0b1
				MX6QDL_PAD_EIM_DA3__EIM_AD03   0xb0b1
				MX6QDL_PAD_EIM_DA2__EIM_AD02   0xb0b1
				MX6QDL_PAD_EIM_DA1__EIM_AD01   0xb0b1
				MX6QDL_PAD_EIM_DA0__EIM_AD00   0xb0b1
			>;
		};
		pinctrl_weim_rdnwr_1: weim_rdnwr-1 {
			fsl,pins = <
				MX6QDL_PAD_SD2_CLK__GPIO1_IO10   PAD_CTRL_IN
				MX6QDL_PAD_RGMII_TD3__GPIO6_IO23 PAD_CTRL_HYS_PD
			>;
		};
		pinctrl_weim_npwe_1: weim_npwe-1 {
			fsl,pins = <
				MX6QDL_PAD_SD2_DAT3__GPIO1_IO12  PAD_CTRL_IN
				MX6QDL_PAD_RGMII_TD2__GPIO6_IO22 PAD_CTRL_HYS_PD
			>;
		};

		/* ADDRESS[16:18] [25] used as GPIO */
		pinctrl_weim_gpio_1: weim_gpio-1 {
			fsl,pins = <
				MX6QDL_PAD_KEY_ROW4__GPIO4_IO15    PAD_CTRL_HYS_PU
				MX6QDL_PAD_KEY_ROW2__GPIO4_IO11    PAD_CTRL_HYS_PU
				MX6QDL_PAD_KEY_COL2__GPIO4_IO10    PAD_CTRL_HYS_PU
				MX6QDL_PAD_DISP0_DAT23__GPIO5_IO17 PAD_CTRL_HYS_PU
				MX6QDL_PAD_DISP0_DAT22__GPIO5_IO16 PAD_CTRL_HYS_PU
				MX6QDL_PAD_DISP0_DAT21__GPIO5_IO15 PAD_CTRL_HYS_PU
				MX6QDL_PAD_DISP0_DAT20__GPIO5_IO14 PAD_CTRL_HYS_PU
				MX6QDL_PAD_DISP0_DAT19__GPIO5_IO13 PAD_CTRL_HYS_PU
				MX6QDL_PAD_DISP0_DAT18__GPIO5_IO12 PAD_CTRL_HYS_PU
				MX6QDL_PAD_NANDF_D1__GPIO2_IO01    PAD_CTRL_HYS_PU
			>;
		};
		/* ADDRESS[19:24] used as GPIO */
		pinctrl_weim_gpio_2: weim_gpio-2 {
			fsl,pins = <
				MX6QDL_PAD_KEY_ROW2__GPIO4_IO11    PAD_CTRL_HYS_PU
				MX6QDL_PAD_KEY_COL2__GPIO4_IO10    PAD_CTRL_HYS_PU
				MX6QDL_PAD_DISP0_DAT23__GPIO5_IO17 PAD_CTRL_HYS_PU
				MX6QDL_PAD_DISP0_DAT22__GPIO5_IO16 PAD_CTRL_HYS_PU
				MX6QDL_PAD_DISP0_DAT21__GPIO5_IO15 PAD_CTRL_HYS_PU
				MX6QDL_PAD_DISP0_DAT20__GPIO5_IO14 PAD_CTRL_HYS_PU
				MX6QDL_PAD_DISP0_DAT19__GPIO5_IO13 PAD_CTRL_HYS_PU
				MX6QDL_PAD_DISP0_DAT18__GPIO5_IO12 PAD_CTRL_HYS_PU
				MX6QDL_PAD_NANDF_D1__GPIO2_IO01    PAD_CTRL_HYS_PU
			>;
		};
		/* DATA[16:31]  used as GPIO */
		pinctrl_weim_gpio_3: weim_gpio-3 {
			fsl,pins = <
				MX6QDL_PAD_EIM_LBA__GPIO2_IO27     PAD_CTRL_HYS_PU
				MX6QDL_PAD_EIM_BCLK__GPIO6_IO31    PAD_CTRL_HYS_PU
				MX6QDL_PAD_NANDF_CS3__GPIO6_IO16   PAD_CTRL_HYS_PU
				MX6QDL_PAD_NANDF_CS1__GPIO6_IO14   PAD_CTRL_HYS_PU
				MX6QDL_PAD_NANDF_RB0__GPIO6_IO10   PAD_CTRL_HYS_PU
				MX6QDL_PAD_NANDF_ALE__GPIO6_IO08   PAD_CTRL_HYS_PU
				MX6QDL_PAD_NANDF_WP_B__GPIO6_IO09  PAD_CTRL_HYS_PU
				MX6QDL_PAD_NANDF_CS0__GPIO6_IO11   PAD_CTRL_HYS_PU
				MX6QDL_PAD_NANDF_CLE__GPIO6_IO07   PAD_CTRL_HYS_PU
				MX6QDL_PAD_GPIO_19__GPIO4_IO05     PAD_CTRL_HYS_PU
				MX6QDL_PAD_CSI0_MCLK__GPIO5_IO19   PAD_CTRL_HYS_PU
				MX6QDL_PAD_CSI0_PIXCLK__GPIO5_IO18 PAD_CTRL_HYS_PU
				MX6QDL_PAD_GPIO_4__GPIO1_IO04      PAD_CTRL_HYS_PU
				MX6QDL_PAD_GPIO_5__GPIO1_IO05      PAD_CTRL_HYS_PU
				MX6QDL_PAD_GPIO_2__GPIO1_IO02      PAD_CTRL_HYS_PU
			>;
		};
		/* DQM[0:3]  used as GPIO */
		pinctrl_weim_gpio_4: weim_gpio-4 {
			fsl,pins = <
				MX6QDL_PAD_EIM_EB0__GPIO2_IO28  PAD_CTRL_HYS_PU
				MX6QDL_PAD_EIM_EB1__GPIO2_IO29  PAD_CTRL_HYS_PU
				MX6QDL_PAD_SD2_DAT2__GPIO1_IO13 PAD_CTRL_HYS_PU
				MX6QDL_PAD_NANDF_D0__GPIO2_IO00 PAD_CTRL_HYS_PU
			>;
		};
		/* RDY  used as GPIO */
		pinctrl_weim_gpio_5: weim_gpio-5 {
			fsl,pins = <
				MX6QDL_PAD_EIM_WAIT__GPIO5_IO00 PAD_CTRL_HYS_PU
			>;
		};
		/* ADDRESS[16] DATA[30]  used as GPIO */
		pinctrl_weim_gpio_6: weim_gpio-6 {
			fsl,pins = <
				MX6QDL_PAD_KEY_ROW4__GPIO4_IO15    PAD_CTRL_HYS_PU
				MX6QDL_PAD_KEY_COL4__GPIO4_IO14    PAD_CTRL_HYS_PU
			>;
		};
	};
};

/* PWM B */
&pwm1 {
	pinctrl-names = "default";
	pinctrl-0 = <&pinctrl_pwm1>;
	status = "disabled";
};
/* PWM D */
&pwm2 {
	pinctrl-names = "default";
	pinctrl-0 = <&pinctrl_pwm2 &pinctrl_pwm_d_cif_d6>;
	status = "disabled";
};
/* PWM A */
&pwm3 {
	pinctrl-names = "default";
	pinctrl-0 = <&pinctrl_pwm3 &pinctrl_pwm_a_cif_d7>;
	status = "disabled";
};
/* PWM C */
&pwm4 {
	pinctrl-names = "default";
	pinctrl-0 = <&pinctrl_pwm4>;
	status = "disabled";
};

/* S/PDIF out on SODIMM 137 */
&spdif {
	pinctrl-names = "default";
	pinctrl-0 = <&pinctrl_spdif_t1>;
	status = "disabled";
};

&ssi1 {
	fsl,mode = "i2s-slave";
	status = "okay";
};

/* UART A */
&uart1 {
	pinctrl-names = "default";
	pinctrl-0 = <&pinctrl_uart1_dte &pinctrl_uart1_ctrl>;
	fsl,dte-mode;
	fsl,uart-has-rtscts;
	status = "disabled";
};

/* UART B */
&uart2 {
	pinctrl-names = "default";
	pinctrl-0 = <&pinctrl_uart2_dte>;
	fsl,dte-mode;
	fsl,uart-has-rtscts;
	status = "disabled";
};

/* UART_C */
&uart3 {
	pinctrl-names = "default";
	pinctrl-0 = <&pinctrl_uart3_dte>;
	fsl,dte-mode;
	status = "disabled";
};

&usbh1 {
	vbus-supply = <&reg_usb_host_vbus>;
	status = "disabled";
};

&usbotg {
	pinctrl-names = "default";
//	pinctrl-0 = <&pinctrl_usbotg_2>;
	disable-over-current;
	dr_mode = "otg";
	status = "disabled";
};

/* MMC */
&usdhc1 {
	label = "MMC1";
	pinctrl-names = "default";
	pinctrl-0 = <&pinctrl_usdhc1 &pinctrl_mmc_cd>;
	cd-gpios = <&gpio2 5 0>;
	vmmc-supply = <&reg_3p3v>;
	bus-width = <4>;
	no-1-8-v;
	status = "disabled";
};

/* eMMC */
&usdhc3 {
	pinctrl-names = "default";
	pinctrl-0 = <&pinctrl_usdhc3>;
	vmmc-supply = <&reg_3p3v>;
	bus-width = <8>;
	no-1-8-v;
	non-removable;
	status = "okay";
};

&weim {
	pinctrl-names = "default";
	pinctrl-0 = <&pinctrl_weim_sram_1  &pinctrl_weim_cs0
	             &pinctrl_weim_cs1   &pinctrl_weim_cs2
	             &pinctrl_weim_rdnwr_1 &pinctrl_weim_npwe_1>;
	#address-cells = <2>;
	#size-cells = <1>;
	status = "disabled";
};
